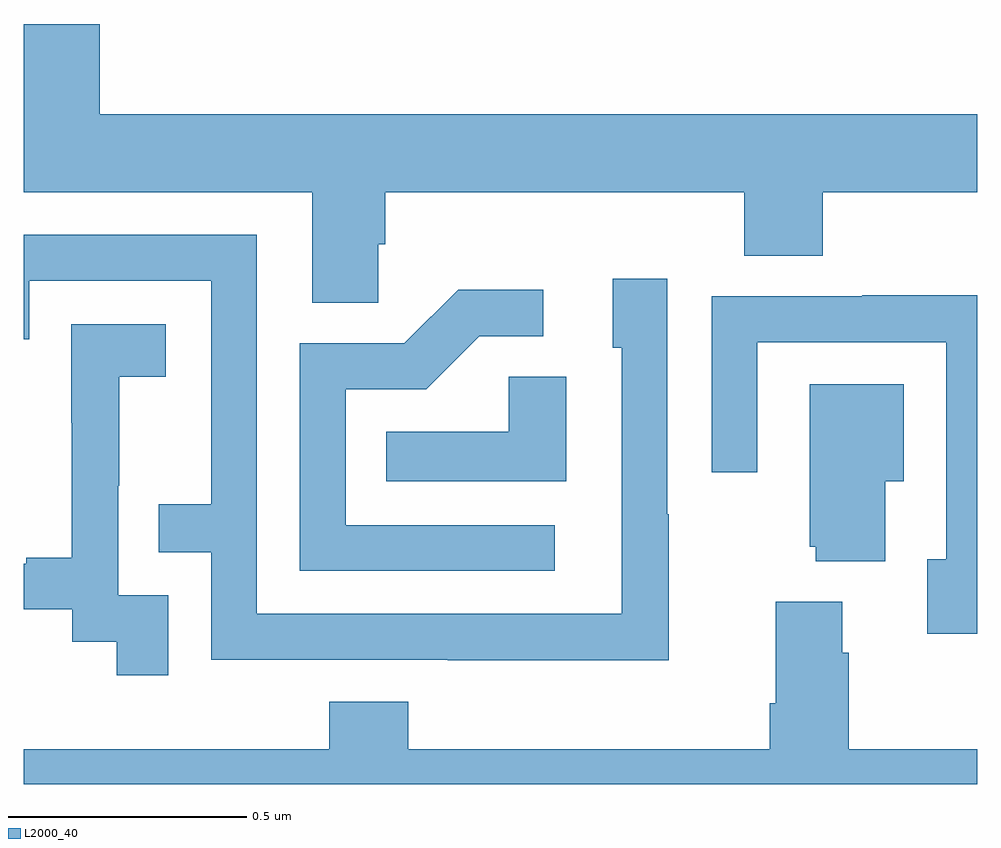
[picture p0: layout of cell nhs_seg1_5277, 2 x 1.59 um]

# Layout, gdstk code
import gdstk
lib = gdstk.Library(unit=1e-6, precision=1e-09)
def P(c, l, *ps):  # polygons
    for p in ps: c.add(gdstk.Polygon(p, *l))
L2000_40 = (2000, 40)

nhs_seg1_5277 = lib.new_cell('nhs_seg1_5277')
P(nhs_seg1_5277, L2000_40, [(177.744,510.331),(177.758,510.331),(177.758,510.44),(178.511,510.44),(178.511,510.307),(178.676,510.307),(178.676,510.44),(179,510.44),(179,510.604),(177.16,510.604),(177.16,510.793),(177,510.793),(177,510.44),(177.605,510.44),(177.605,510.208),(177.744,510.208)],
  [(178.353,509.765),(178.35,509.765),(178.35,510.259),(178.235,510.259),(178.235,510.114),(178.254,510.114),(178.254,509.556),(177.489,509.556),(177.489,510.351),(177,510.351),(177,510.132),(177.012,510.132),(177.012,510.255),(177.393,510.255),(177.393,509.786),(177.283,509.786),(177.283,509.685),(177.393,509.685),(177.393,509.46),(177.889,509.46),(177.889,509.459),(178.353,509.459)],
  [(178.114,509.742),(177.675,509.742),(177.675,510.027),(177.844,510.027),(177.955,510.138),(178.09,510.138),(178.09,510.236),(177.911,510.236),(177.798,510.123),(177.579,510.123),(177.579,509.646),(178.114,509.646)],
  [(179,510.224),(178.759,510.224),(178.759,510.222),(178.443,510.222),(178.443,509.853),(178.539,509.853),(178.539,510.126),(178.935,510.126),(178.935,509.67),(178.895,509.67),(178.895,509.514),(179,509.514)],
  [(177.303,509.595),(177.198,509.595),(177.198,509.825),(177.2,509.825),(177.2,510.053),(177.298,510.053),(177.298,510.163),(177.1,510.163),(177.1,509.957),(177.101,509.957),(177.101,509.674),(177.005,509.674),(177.005,509.661),(177,509.661),(177,509.565),(177.102,509.565),(177.102,509.497),(177.195,509.497),(177.195,509.427),(177.303,509.427)],
  [(178.138,510.053),(178.017,510.053),(178.017,509.938),(177.76,509.938),(177.76,509.834),(178.138,509.834)],
  [(178.807,509.834),(178.846,509.834),(178.846,510.037),(178.649,510.037),(178.649,509.697),(178.661,509.697),(178.661,509.666),(178.807,509.666)],
  [(179,509.272),(178.73,509.272),(178.73,509.474),(178.717,509.474),(178.717,509.581),(178.577,509.581),(178.577,509.368),(178.565,509.368),(178.565,509.272),(177.806,509.272),(177.806,509.371),(177.641,509.371),(177.641,509.272),(177,509.272),(177,509.199),(179,509.199)])

lib.write_gds('nhs_seg1_5277.gds')
